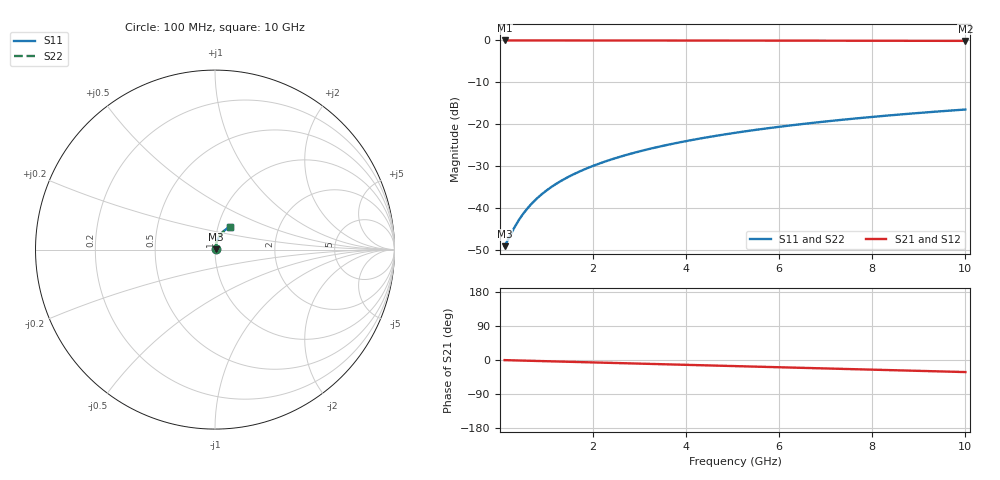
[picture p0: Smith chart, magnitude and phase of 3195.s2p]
# Hz S RI R 50.00
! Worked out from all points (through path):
!   100 points, 100 MHz to 10 GHz, reference 50 ohm
!   highest |S21| = -0.03 dB at 100 MHz (marker M1); lowest = -0.1 dB at 10 GHz (marker M2)
!   group delay of S21, straight-line fit = 8.85 ps
!   lowest |S11| = -49.2 dB at 100 MHz (marker M3), VSWR 1.01, Z = 50.3 + j0.157 ohm
!   |S11| at or under -10 dB: start of sweep to end of sweep
!   |S22| runs from -49.2 to -16.5 dB; largest |S21 - S12| = 0
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1e8  0.0031 0.00156  0.9969 -0.00555  0.9969 -0.00555  0.0031 0.00156
3e8  0.0032 0.00467  0.9967 -0.0166  0.9967 -0.0166  0.0032 0.00467
4e8  0.00327 0.00623  0.9966 -0.0222  0.9966 -0.0222  0.00327 0.00623
5e8  0.00336 0.00779  0.9964 -0.0277  0.9964 -0.0277  0.00336 0.00779
6e8  0.00346 0.00934  0.9962 -0.0333  0.9962 -0.0333  0.00346 0.00934
7e8  0.00358 0.0109  0.996 -0.0388  0.996 -0.0388  0.00358 0.0109
8e8  0.00372 0.0124  0.9957 -0.0444  0.9957 -0.0444  0.00372 0.0124
1e9  0.00404 0.0155  0.9951 -0.0554  0.9951 -0.0554  0.00404 0.0155
1.2e9  0.00443 0.0186  0.9944 -0.0665  0.9944 -0.0665  0.00443 0.0186
1.5e9  0.00514 0.0232  0.993 -0.0831  0.993 -0.0831  0.00514 0.0232
1.8e9  0.00601 0.0278  0.9913 -0.0997  0.9913 -0.0997  0.00601 0.0278
2.1e9  0.00703 0.0324  0.9894 -0.1162  0.9894 -0.1162  0.00703 0.0324
2.5e9  0.00862 0.0384  0.9863 -0.1381  0.9863 -0.1381  0.00862 0.0384
2.9e9  0.0105 0.0443  0.9827 -0.16  0.9827 -0.16  0.0105 0.0443
3.4e9  0.0132 0.0516  0.9775 -0.1872  0.9775 -0.1872  0.0132 0.0516
4.2e9  0.0183 0.063  0.9674 -0.2304  0.9674 -0.2304  0.0183 0.063
5.1e9  0.0252 0.0751  0.9537 -0.2782  0.9537 -0.2782  0.0252 0.0751
5.9e9  0.0324 0.0852  0.9394 -0.32  0.9394 -0.32  0.0324 0.0852
6.7e9  0.0404 0.0946  0.9231 -0.361  0.9231 -0.361  0.0404 0.0946
7.5e9  0.0493 0.1033  0.905 -0.4011  0.905 -0.4011  0.0493 0.1033
8.4e9  0.0601 0.1121  0.8825 -0.445  0.8825 -0.445  0.0601 0.1121
1e10  0.0812 0.125  0.8371 -0.5197  0.8371 -0.5197  0.0812 0.125
